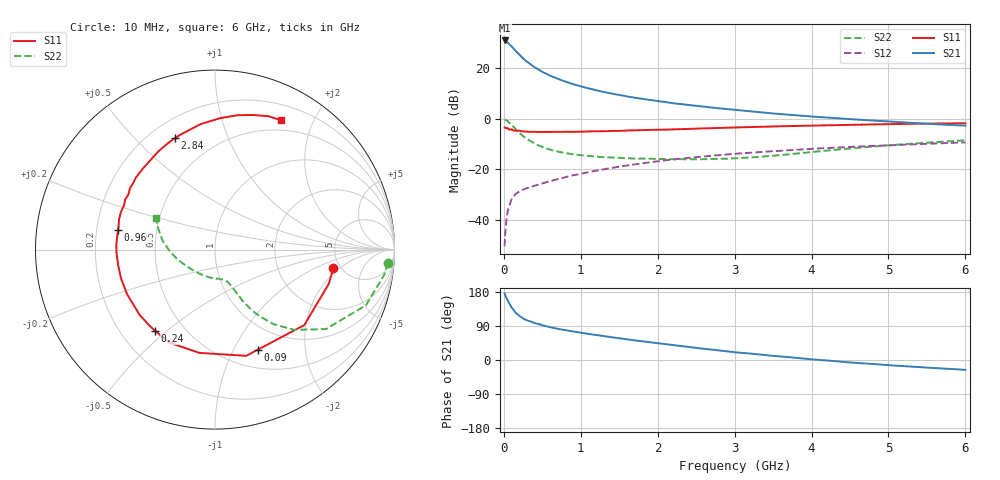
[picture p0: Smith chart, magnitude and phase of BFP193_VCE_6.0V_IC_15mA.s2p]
! Infineon Technologies  Discrete & RF Semiconductors
! BFP193
! VCE = 6.0 V,  IC =  15 mA
! Common Emitter S-Parameters:  Jan 2016
# GHz  S  MA  R  50
!  f  S11  S21  S12  S22
! GHz  MAG  ANG  MAG  ANG  MAG  ANG  MAG  ANG
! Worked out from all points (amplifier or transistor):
!   210 points, 10 MHz to 6 GHz, reference 50 ohm
!   highest |S21| = 31.0 dB at 10 MHz (marker M1)
!   |S21| within 3 dB of that: start of sweep to 120.3 MHz
!   unconditionally stable (mu >= 1): 890.9 MHz to 3.807 GHz
!   at 185 MHz: K = 0.40, MSG = 27.5 dB, |S12| = -29.2 dB
!   at 1.52 GHz: K = 1.08, MAG = 12.4 dB, |S12| = -18.9 dB
!   at 6 GHz: K = 0.91, MSG = 3.3 dB, |S12| = -9.4 dB
!   S11 on the Smith chart (normalised r, x): 10 MHz: 4.38, -1.63; 90 MHz: 0.71, -1.25; 240 MHz: 0.35, -0.46; 960 MHz: 0.29, +0.09; 2.84 GHz: 0.30, +0.66; 6 GHz: 0.38, +1.57
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0.01  0.6676 -8.9  35.3 175.4  0.003 88.2  0.9645 -4.3
0.02  0.6624 -16.6  34.36 169.5  0.006 83.1  0.9539 -8.4
0.05  0.6514 -40.2  32.16 156.5  0.0147 72.5  0.8966 -20.2
0.09  0.6065 -66.8  27.94 142.7  0.023 61.8  0.7828 -32.1
0.1  0.6169 -73.6  27.18 138.7  0.0252 60.2  0.7606 -35.6
0.15  0.582 -98.5  22.17 125.4  0.0321 53.0  0.6276 -45.4
0.2  0.5771 -115.9  18.48 116.6  0.036 49.3  0.5296 -51.8
0.24  0.5623 -126.3  16.09 111.2  0.0389 47.8  0.4664 -55.0
0.26  0.559 -131.0  15.08 108.7  0.0401 47.4  0.4402 -56.4
0.3  0.5556 -139.1  13.38 104.7  0.0423 47.2  0.3978 -58.7
0.4  0.5492 -153.1  10.41 97.5  0.0471 47.6  0.3207 -61.8
0.5  0.5477 -163.2  8.426 91.6  0.0524 48.5  0.2751 -63.2
0.7  0.5491 -178.0  6.154 82.3  0.0635 51.3  0.2232 -65.9
0.96  0.5509 168.6  4.534 73.3  0.0788 53.0  0.1924 -68.8
1.02  0.5538 165.8  4.276 71.3  0.0822 53.2  0.1883 -69.7
1.4  0.5733 150.8  3.132 60.1  0.106 52.8  0.171 -77.3
2.02  0.6045 131.6  2.202 43.7  0.145 48.7  0.1587 -94.7
2.84  0.6593 109.9  1.579 24.2  0.1926 40.9  0.1605 -125.4
3.1  0.6744 104.4  1.443 18.8  0.2067 38.2  0.1672 -135.5
4.1  0.7368 86.4  1.079 0.3  0.2577 27.7  0.2262 -169.7
5.1  0.7829 73.0  0.861 -15.0  0.3016 17.3  0.3043 167.8
6  0.8092 62.9  0.727 -26.0  0.3396 7.7  0.3737 151.9
